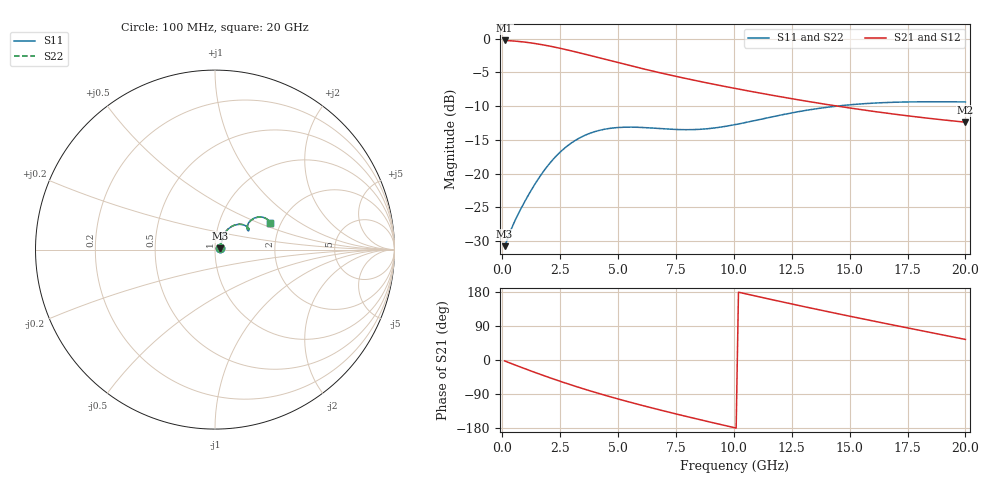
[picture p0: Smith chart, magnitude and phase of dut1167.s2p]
! Touchstone file exported from HFSS 2024.1.0
!  File:  C:/UserFiles/LocalFiles/RDL_TSV_Batchsim/temp_RDL_TSV_1167_1780122299.aedt
!  Generated:  02:42:35 PM May 30, 2026
!  Design:  RDL_TSV
!  Project:  temp_RDL_TSV_1167_1780122299
!  Setup:  Setup1
!  Solution:  Sweep
! Variables:
!  dtsv = 8.04um
!  hbump = 3um
!  htsv = 89.01um
!  ldown = 664.33um
!  lrdl = 653.22um
!  p = 40
!  p1 = 41.81um
!  rhole = 10um
!  subl = 4605.87um
!  t = 450um
!  tdown = 2.17um
!  trdl = 4.38um
!  viad = 10um
!  wdown = 21.61um
!  wrdl = 16.71um
!  xbump = 18um
# GHz S MA R 50.000000
! Terminal data exported
! Port[1] = TM1_1_T1
! Port[2] = TM1_4_T1
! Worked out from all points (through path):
!   200 points, 100 MHz to 20 GHz, reference 50 ohm
!   highest |S21| = -0.25 dB at 100 MHz (marker M1); lowest = -12.4 dB at 20 GHz (marker M2)
!   group delay of S21, straight-line fit = 40.7 ps
!   lowest |S11| = -30.8 dB at 100 MHz (marker M3), VSWR 1.06, Z = 52.9 + j0.672 ohm
!   |S11| at or under -10 dB: start of sweep to 14.43 GHz
!   |S22| runs from -30.8 to -9.4 dB; largest |S21 - S12| = 1.2e-14
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0.1  0.02889 12.7  0.9716 -2.5  0.9716 -2.5  0.02889 12.7
! Gamma 0 0 0 0
! Port Impedance 50 0 50 0
0.5  0.04286 39.2  0.9623 -12.0  0.9623 -12.0  0.04286 39.3
0.9  0.05884 50.7  0.9477 -21.3  0.9477 -21.3  0.05884 50.7
1.4  0.08293 57.7  0.9229 -32.6  0.9229 -32.6  0.08298 57.8
1.8  0.1049 59.1  0.8986 -41.4  0.8986 -41.4  0.105 59.2
2.2  0.1277 58.1  0.8714 -50.0  0.8714 -50.0  0.1279 58.2
2.6  0.1496 55.6  0.8423 -58.3  0.8423 -58.3  0.1499 55.7
3  0.1693 52.3  0.812 -66.3  0.812 -66.3  0.1697 52.4
3.5  0.1897 47.6  0.7737 -76.0  0.7737 -76.0  0.1902 47.7
4.2  0.2092 41.3  0.7213 -88.9  0.7213 -88.9  0.2098 41.4
5.1  0.22 34.6  0.6587 -104.5  0.6587 -104.5  0.2209 34.7
5.9  0.2202 30.9  0.609 -117.6  0.609 -117.6  0.2212 30.9
6.8  0.2156 29.3  0.5598 -131.7  0.5598 -131.7  0.2167 29.3
7.5  0.2122 29.9  0.5261 -142.3  0.5261 -142.3  0.2134 29.8
8.3  0.2119 32.0  0.4916 -154.1  0.4916 -154.1  0.213 31.9
10.1  0.2314 37.7  0.4265 -179.7  0.4265 -179.7  0.2321 37.5
11.8  0.2667 39.2  0.3769 157.1  0.3769 157.1  0.2671 39.0
13.4  0.2995 37.1  0.3384 136.1  0.3384 136.1  0.2996 37.0
15  0.3234 33.7  0.3065 115.6  0.3065 115.6  0.3234 33.6
16.7  0.337 29.9  0.2791 94.5  0.2791 94.5  0.3368 29.8
18.3  0.3408 27.2  0.2583 74.9  0.2583 74.9  0.3406 27.2
20  0.34 25.6  0.2404 54.3  0.2404 54.3  0.3397 25.6
